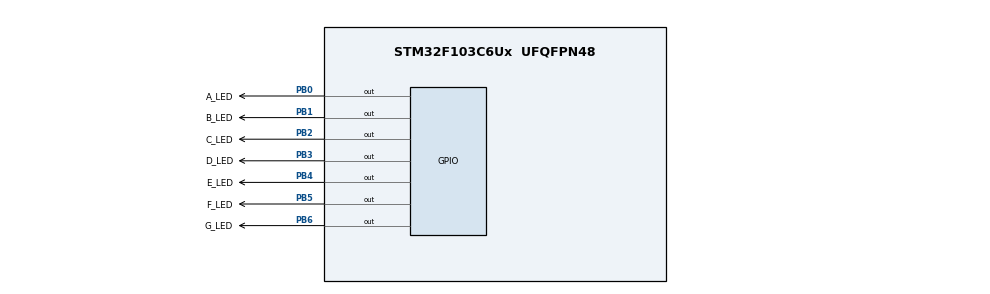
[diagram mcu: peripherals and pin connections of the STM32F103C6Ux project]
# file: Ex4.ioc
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Mcu.Family=STM32F1
Mcu.Name=STM32F103C6Ux
Mcu.Package=UFQFPN48
NVIC.PriorityGroup=NVIC_PRIORITYGROUP_4
PB0.GPIO_Label=A_LED
PB0.Signal=GPIO_Output
PB1.GPIO_Label=B_LED
PB1.Signal=GPIO_Output
PB2.GPIO_Label=C_LED
PB2.Signal=GPIO_Output
PB3.GPIO_Label=D_LED
PB3.Signal=GPIO_Output
PB4.GPIO_Label=E_LED
PB4.Signal=GPIO_Output
PB5.GPIO_Label=F_LED
PB5.Signal=GPIO_Output
PB6.GPIO_Label=G_LED
PB6.Signal=GPIO_Output
ProjectManager.HeapSize=0x200
ProjectManager.StackSize=0x400
ProjectManager.TargetToolchain=STM32CubeIDE
RCC.APB1Freq_Value=8000000
RCC.APB2Freq_Value=8000000
VP_SYS_VS_ND.Mode=No_Debug
board=custom

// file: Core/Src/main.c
/* USER CODE BEGIN Header */
/**
  ******************************************************************************
  * @file           : main.c
  * @brief          : Main program body
  ******************************************************************************
  * @attention
  *
  * <h2><center>&copy; Copyright (c) 2026 STMicroelectronics.
  * All rights reserved.</center></h2>
  *
  * This software component is licensed by ST under BSD 3-Clause license,
  * the "License"; You may not use this file except in compliance with the
  * License. You may obtain a copy of the License at:
  *                        opensource.org/licenses/BSD-3-Clause
  *
  ******************************************************************************
  */
/* USER CODE END Header */
#include "main.h"

/* USER CODE BEGIN PV */
int counter = 0;
/* USER CODE END PV */

void SystemClock_Config(void);
static void MX_GPIO_Init(void);
/* USER CODE BEGIN PFP */
void display7SEG(int num);
/* USER CODE END PFP */

int main(void)
{

  /* MCU Configuration--------------------------------------------------------*/

  /* Reset of all peripherals, Initializes the Flash interface and the Systick. */
  HAL_Init();

  /* Configure the system clock */
  SystemClock_Config();

  /* Initialize all configured peripherals */
  MX_GPIO_Init();

  /* Infinite loop */
  /* USER CODE BEGIN WHILE */
  /* Infinite loop */
    /* USER CODE BEGIN WHILE */
  /* Infinite loop */
    /* USER CODE BEGIN WHILE */
    while (1)
    {
    /* USER CODE END WHILE */

    /* USER CODE BEGIN 3 */

    	while (1)
    	{

    	    /* USER CODE BEGIN 3 */
    	    if (counter >= 10) counter = 0;
    	    display7SEG(counter++);
    	    HAL_Delay(1000);
    	}
    	/* USER CODE END 3 */
    }
  /* USER CODE END 3 */
}

/* USER CODE BEGIN 4 */
/* USER CODE BEGIN 4 */
void display7SEG(int num) {
    switch (num) {
        case 0:
            // Số 0: 0, 1, 2, 3, 4, 5 SÁNG (RESET); 6 TẮT (SET)
            HAL_GPIO_WritePin(GPIOB, GPIO_PIN_0, GPIO_PIN_RESET);
            HAL_GPIO_WritePin(GPIOB, GPIO_PIN_1, GPIO_PIN_RESET);
            HAL_GPIO_WritePin(GPIOB, GPIO_PIN_2, GPIO_PIN_RESET);
            HAL_GPIO_WritePin(GPIOB, GPIO_PIN_3, GPIO_PIN_RESET);
            HAL_GPIO_WritePin(GPIOB, GPIO_PIN_4, GPIO_PIN_RESET);
            HAL_GPIO_WritePin(GPIOB, GPIO_PIN_5, GPIO_PIN_RESET);
            HAL_GPIO_WritePin(GPIOB, GPIO_PIN_6, GPIO_PIN_SET);
            break;

        case 1:
            // Số 1: 1, 2 SÁNG
            HAL_GPIO_WritePin(GPIOB, GPIO_PIN_0, GPIO_PIN_SET);
            HAL_GPIO_WritePin(GPIOB, GPIO_PIN_1, GPIO_PIN_RESET);
            HAL_GPIO_WritePin(GPIOB, GPIO_PIN_2, GPIO_PIN_RESET);
            HAL_GPIO_WritePin(GPIOB, GPIO_PIN_3, GPIO_PIN_SET);
            HAL_GPIO_WritePin(GPIOB, GPIO_PIN_4, GPIO_PIN_SET);
            HAL_GPIO_WritePin(GPIOB, GPIO_PIN_5, GPIO_PIN_SET);
            HAL_GPIO_WritePin(GPIOB, GPIO_PIN_6, GPIO_PIN_SET);
            break;

        case 2:
            // Số 2: 0, 1, 3, 4, 6 SÁNG
            HAL_GPIO_WritePin(GPIOB, GPIO_PIN_0, GPIO_PIN_RESET);
            HAL_GPIO_WritePin(GPIOB, GPIO_PIN_1, GPIO_PIN_RESET);
            HAL_GPIO_WritePin(GPIOB, GPIO_PIN_2, GPIO_PIN_SET);
            HAL_GPIO_WritePin(GPIOB, GPIO_PIN_3, GPIO_PIN_RESET);
            HAL_GPIO_WritePin(GPIOB, GPIO_PIN_4, GPIO_PIN_RESET);
            HAL_GPIO_WritePin(GPIOB, GPIO_PIN_5, GPIO_PIN_SET);
            HAL_GPIO_WritePin(GPIOB, GPIO_PIN_6, GPIO_PIN_RESET);
            break;

        case 3:
            // Số 3: 0, 1, 2, 3, 6 SÁNG
            HAL_GPIO_WritePin(GPIOB, GPIO_PIN_0, GPIO_PIN_RESET);
            HAL_GPIO_WritePin(GPIOB, GPIO_PIN_1, GPIO_PIN_RESET);
            HAL_GPIO_WritePin(GPIOB, GPIO_PIN_2, GPIO_PIN_RESET);
            HAL_GPIO_WritePin(GPIOB, GPIO_PIN_3, GPIO_PIN_RESET);
            HAL_GPIO_WritePin(GPIOB, GPIO_PIN_4, GPIO_PIN_SET);
            HAL_GPIO_WritePin(GPIOB, GPIO_PIN_5, GPIO_PIN_SET);
            HAL_GPIO_WritePin(GPIOB, GPIO_PIN_6, GPIO_PIN_RESET);
            break;

        case 4:
            // Số 4: 1, 2, 5, 6 SÁNG
            HAL_GPIO_WritePin(GPIOB, GPIO_PIN_0, GPIO_PIN_SET);
            HAL_GPIO_WritePin(GPIOB, GPIO_PIN_1, GPIO_PIN_RESET);
            HAL_GPIO_WritePin(GPIOB, GPIO_PIN_2, GPIO_PIN_RESET);
            HAL_GPIO_WritePin(GPIOB, GPIO_PIN_3, GPIO_PIN_SET);
            HAL_GPIO_WritePin(GPIOB, GPIO_PIN_4, GPIO_PIN_SET);
            HAL_GPIO_WritePin(GPIOB, GPIO_PIN_5, GPIO_PIN_RESET);
            HAL_GPIO_WritePin(GPIOB, GPIO_PIN_6, GPIO_PIN_RESET);
            break;

        case 5:
            // Số 5: 0, 2, 3, 5, 6 SÁNG
            HAL_GPIO_WritePin(GPIOB, GPIO_PIN_0, GPIO_PIN_RESET);
            HAL_GPIO_WritePin(GPIOB, GPIO_PIN_1, GPIO_PIN_SET);
            HAL_GPIO_WritePin(GPIOB, GPIO_PIN_2, GPIO_PIN_RESET);
            HAL_GPIO_WritePin(GPIOB, GPIO_PIN_3, GPIO_PIN_RESET);
            HAL_GPIO_WritePin(GPIOB, GPIO_PIN_4, GPIO_PIN_SET);
            HAL_GPIO_WritePin(GPIOB, GPIO_PIN_5, GPIO_PIN_RESET);
            HAL_GPIO_WritePin(GPIOB, GPIO_PIN_6, GPIO_PIN_RESET);
            break;

        case 6:
            // Số 6: 0, 2, 3, 4, 5, 6 SÁNG
            HAL_GPIO_WritePin(GPIOB, GPIO_PIN_0, GPIO_PIN_RESET);
            HAL_GPIO_WritePin(GPIOB, GPIO_PIN_1, GPIO_PIN_SET);
            HAL_GPIO_WritePin(GPIOB, GPIO_PIN_2, GPIO_PIN_RESET);
            HAL_GPIO_WritePin(GPIOB, GPIO_PIN_3, GPIO_PIN_RESET);
            HAL_GPIO_WritePin(GPIOB, GPIO_PIN_4, GPIO_PIN_RESET);
            HAL_GPIO_WritePin(GPIOB, GPIO_PIN_5, GPIO_PIN_RESET);
            HAL_GPIO_WritePin(GPIOB, GPIO_PIN_6, GPIO_PIN_RESET);
            break;

        case 7:
            // Số 7: 0, 1, 2 SÁNG
            HAL_GPIO_WritePin(GPIOB, GPIO_PIN_0, GPIO_PIN_RESET);
            HAL_GPIO_WritePin(GPIOB, GPIO_PIN_1, GPIO_PIN_RESET);
            HAL_GPIO_WritePin(GPIOB, GPIO_PIN_2, GPIO_PIN_RESET);
            HAL_GPIO_WritePin(GPIOB, GPIO_PIN_3, GPIO_PIN_SET);
            HAL_GPIO_WritePin(GPIOB, GPIO_PIN_4, GPIO_PIN_SET);
            HAL_GPIO_WritePin(GPIOB, GPIO_PIN_5, GPIO_PIN_SET);
            HAL_GPIO_WritePin(GPIOB, GPIO_PIN_6, GPIO_PIN_SET);
            break;

        case 8:
            // Số 8: SÁNG HẾT
            HAL_GPIO_WritePin(GPIOB, GPIO_PIN_0, GPIO_PIN_RESET);
            HAL_GPIO_WritePin(GPIOB, GPIO_PIN_1, GPIO_PIN_RESET);
            HAL_GPIO_WritePin(GPIOB, GPIO_PIN_2, GPIO_PIN_RESET);
            HAL_GPIO_WritePin(GPIOB, GPIO_PIN_3, GPIO_PIN_RESET);
            HAL_GPIO_WritePin(GPIOB, GPIO_PIN_4, GPIO_PIN_RESET);
            HAL_GPIO_WritePin(GPIOB, GPIO_PIN_5, GPIO_PIN_RESET);
            HAL_GPIO_WritePin(GPIOB, GPIO_PIN_6, GPIO_PIN_RESET);
            break;

        case 9:
            // Số 9: 0, 1, 2, 3, 5, 6 SÁNG
            HAL_GPIO_WritePin(GPIOB, GPIO_PIN_0, GPIO_PIN_RESET);
            HAL_GPIO_WritePin(GPIOB, GPIO_PIN_1, GPIO_PIN_RESET);
            HAL_GPIO_WritePin(GPIOB, GPIO_PIN_2, GPIO_PIN_RESET);
            HAL_GPIO_WritePin(GPIOB, GPIO_PIN_3, GPIO_PIN_RESET);
            HAL_GPIO_WritePin(GPIOB, GPIO_PIN_4, GPIO_PIN_SET);
            HAL_GPIO_WritePin(GPIOB, GPIO_PIN_5, GPIO_PIN_RESET);
            HAL_GPIO_WritePin(GPIOB, GPIO_PIN_6, GPIO_PIN_RESET);
            break;

        default:
            // Tắt hết
            HAL_GPIO_WritePin(GPIOB, GPIO_PIN_0, GPIO_PIN_SET);
            HAL_GPIO_WritePin(GPIOB, GPIO_PIN_1, GPIO_PIN_SET);
            HAL_GPIO_WritePin(GPIOB, GPIO_PIN_2, GPIO_PIN_SET);
            HAL_GPIO_WritePin(GPIOB, GPIO_PIN_3, GPIO_PIN_SET);
            HAL_GPIO_WritePin(GPIOB, GPIO_PIN_4, GPIO_PIN_SET);
            HAL_GPIO_WritePin(GPIOB, GPIO_PIN_5, GPIO_PIN_SET);
            HAL_GPIO_WritePin(GPIOB, GPIO_PIN_6, GPIO_PIN_SET);
            break;
    }
}

/* USER CODE END 4 */
void SystemClock_Config(void)
{
  RCC_OscInitTypeDef RCC_OscInitStruct = {0};
  RCC_ClkInitTypeDef RCC_ClkInitStruct = {0};

  /** Initializes the RCC Oscillators according to the specified parameters
  * in the RCC_OscInitTypeDef structure.
  */
  RCC_OscInitStruct.OscillatorType = RCC_OSCILLATORTYPE_HSI;
  RCC_OscInitStruct.HSIState = RCC_HSI_ON;
  RCC_OscInitStruct.HSICalibrationValue = RCC_HSICALIBRATION_DEFAULT;
  RCC_OscInitStruct.PLL.PLLState = RCC_PLL_NONE;
  if (HAL_RCC_OscConfig(&RCC_OscInitStruct) != HAL_OK)
  {
    Error_Handler();
  }
  /** Initializes the CPU, AHB and APB buses clocks
  */
  RCC_ClkInitStruct.ClockType = RCC_CLOCKTYPE_HCLK|RCC_CLOCKTYPE_SYSCLK
                              |RCC_CLOCKTYPE_PCLK1|RCC_CLOCKTYPE_PCLK2;
  RCC_ClkInitStruct.SYSCLKSource = RCC_SYSCLKSOURCE_HSI;
  RCC_ClkInitStruct.AHBCLKDivider = RCC_SYSCLK_DIV1;
  RCC_ClkInitStruct.APB1CLKDivider = RCC_HCLK_DIV1;
  RCC_ClkInitStruct.APB2CLKDivider = RCC_HCLK_DIV1;

  if (HAL_RCC_ClockConfig(&RCC_ClkInitStruct, FLASH_LATENCY_0) != HAL_OK)
  {
    Error_Handler();
  }
}

static void MX_GPIO_Init(void)
{
  GPIO_InitTypeDef GPIO_InitStruct = {0};

  /* GPIO Ports Clock Enable */
  __HAL_RCC_GPIOB_CLK_ENABLE();

  /*Configure GPIO pin Output Level */
  HAL_GPIO_WritePin(GPIOB, A_LED_Pin|B_LED_Pin|C_LED_Pin|D_LED_Pin
                          |E_LED_Pin|F_LED_Pin|G_LED_Pin, GPIO_PIN_RESET);

  /*Configure GPIO pins : A_LED_Pin B_LED_Pin C_LED_Pin D_LED_Pin
                           E_LED_Pin F_LED_Pin G_LED_Pin */
  GPIO_InitStruct.Pin = A_LED_Pin|B_LED_Pin|C_LED_Pin|D_LED_Pin
                          |E_LED_Pin|F_LED_Pin|G_LED_Pin;
  GPIO_InitStruct.Mode = GPIO_MODE_OUTPUT_PP;
  GPIO_InitStruct.Pull = GPIO_NOPULL;
  GPIO_InitStruct.Speed = GPIO_SPEED_FREQ_LOW;
  HAL_GPIO_Init(GPIOB, &GPIO_InitStruct);

}

void Error_Handler(void)
{
  __disable_irq();
  while (1)
  {
  }
}

/************************ (C) COPYRIGHT STMicroelectronics *****END OF FILE****/
